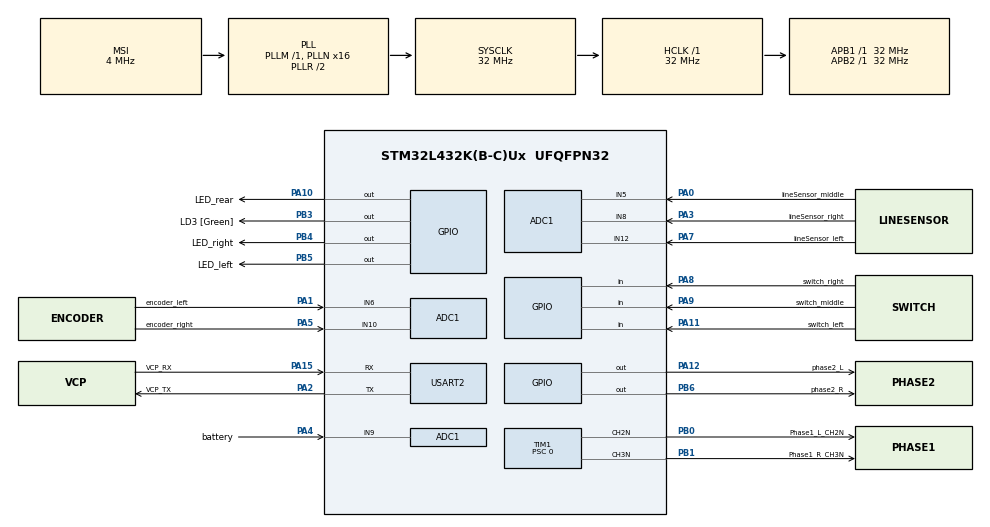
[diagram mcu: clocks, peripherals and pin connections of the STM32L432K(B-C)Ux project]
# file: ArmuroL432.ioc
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ADC1.Channel-0\#ChannelRegularConversion=ADC_CHANNEL_5
ADC1.Channel-1\#ChannelRegularConversion=ADC_CHANNEL_6
ADC1.Channel-2\#ChannelRegularConversion=ADC_CHANNEL_8
ADC1.Channel-3\#ChannelRegularConversion=ADC_CHANNEL_9
ADC1.Channel-4\#ChannelRegularConversion=ADC_CHANNEL_10
ADC1.Channel-5\#ChannelRegularConversion=ADC_CHANNEL_12
ADC1.ClockPrescaler=ADC_CLOCK_ASYNC_DIV4
ADC1.ContinuousConvMode=ENABLE
ADC1.EOCSelection=ADC_EOC_SEQ_CONV
ADC1.NbrOfConversion=6
ADC1.NbrOfConversionFlag=1
ADC1.OffsetNumber-0\#ChannelRegularConversion=ADC_OFFSET_NONE
ADC1.OffsetNumber-1\#ChannelRegularConversion=ADC_OFFSET_NONE
ADC1.OffsetNumber-2\#ChannelRegularConversion=ADC_OFFSET_NONE
ADC1.OffsetNumber-3\#ChannelRegularConversion=ADC_OFFSET_NONE
ADC1.OffsetNumber-4\#ChannelRegularConversion=ADC_OFFSET_NONE
ADC1.OffsetNumber-5\#ChannelRegularConversion=ADC_OFFSET_NONE
ADC1.Rank-0\#ChannelRegularConversion=1
ADC1.Rank-1\#ChannelRegularConversion=2
ADC1.Rank-2\#ChannelRegularConversion=3
ADC1.Rank-3\#ChannelRegularConversion=4
ADC1.Rank-4\#ChannelRegularConversion=5
ADC1.Rank-5\#ChannelRegularConversion=6
ADC1.SamplingTime-0\#ChannelRegularConversion=ADC_SAMPLETIME_2CYCLES_5
ADC1.SamplingTime-1\#ChannelRegularConversion=ADC_SAMPLETIME_2CYCLES_5
ADC1.SamplingTime-2\#ChannelRegularConversion=ADC_SAMPLETIME_2CYCLES_5
ADC1.SamplingTime-3\#ChannelRegularConversion=ADC_SAMPLETIME_2CYCLES_5
ADC1.SamplingTime-4\#ChannelRegularConversion=ADC_SAMPLETIME_2CYCLES_5
ADC1.SamplingTime-5\#ChannelRegularConversion=ADC_SAMPLETIME_2CYCLES_5
ADC1.master=1
Dma.ADC1.0.Direction=DMA_PERIPH_TO_MEMORY
Dma.ADC1.0.Instance=DMA1_Channel1
Dma.ADC1.0.MemDataAlignment=DMA_MDATAALIGN_WORD
Dma.ADC1.0.MemInc=DMA_MINC_ENABLE
Dma.ADC1.0.Mode=DMA_CIRCULAR
Dma.ADC1.0.PeriphDataAlignment=DMA_PDATAALIGN_WORD
Dma.ADC1.0.PeriphInc=DMA_PINC_DISABLE
Dma.ADC1.0.Priority=DMA_PRIORITY_LOW
Dma.Request0=ADC1
Mcu.Family=STM32L4
Mcu.Name=STM32L432K(B-C)Ux
Mcu.Package=UFQFPN32
NVIC.DMA1_Channel1_IRQn=true\:0\:0\:false\:false\:true\:false\:true\:true
NVIC.PriorityGroup=NVIC_PRIORITYGROUP_4
PA0.GPIO_Label=lineSensor_middle
PA0.Signal=ADCx_IN5
PA1.GPIO_Label=encoder_left
PA1.Signal=ADCx_IN6
PA10.GPIO_Label=LED_rear
PA10.Signal=GPIO_Output
PA11.GPIO_Label=switch_left
PA11.Signal=GPIO_Input
PA12.GPIO_Label=phase2_L
PA12.PinState=GPIO_PIN_RESET
PA12.Signal=GPIO_Output
PA13\ (JTMS-SWDIO).GPIO_Label=SWDIO
PA13\ (JTMS-SWDIO).Mode=Serial_Wire
PA13\ (JTMS-SWDIO).Signal=SYS_JTMS-SWDIO
PA14\ (JTCK-SWCLK).GPIO_Label=SWCLK
PA14\ (JTCK-SWCLK).Mode=Serial_Wire
PA14\ (JTCK-SWCLK).Signal=SYS_JTCK-SWCLK
PA15\ (JTDI).GPIO_Label=VCP_RX
PA15\ (JTDI).Mode=Asynchronous
PA15\ (JTDI).Signal=USART2_RX
PA2.GPIO_Label=VCP_TX
PA2.Mode=Asynchronous
PA2.Signal=USART2_TX
PA3.GPIO_Label=lineSensor_right
PA3.Signal=ADCx_IN8
PA4.GPIO_Label=battery
PA4.Signal=ADCx_IN9
PA5.GPIO_Label=encoder_right
PA5.Signal=ADCx_IN10
PA7.GPIO_Label=lineSensor_left
PA7.Signal=ADCx_IN12
PA8.GPIO_Label=switch_right
PA8.Signal=GPIO_Input
PA9.GPIO_Label=switch_middle
PA9.Signal=GPIO_Input
PB0.GPIO_Label=Phase1_L_CH2N
PB0.Mode=PWM Generation2 CH2N
PB0.Signal=TIM1_CH2N
PB1.GPIO_Label=Phase1_R_CH3N
PB1.Mode=PWM Generation3 CH3N
PB1.Signal=TIM1_CH3N
PB3\ (JTDO-TRACESWO).GPIO_Label=LD3 [Green]
PB3\ (JTDO-TRACESWO).Signal=GPIO_Output
PB4\ (NJTRST).GPIO_Label=LED_right
PB4\ (NJTRST).Signal=GPIO_Output
PB5.GPIO_Label=LED_left
PB5.Signal=GPIO_Output
PB6.GPIO_Label=phase2_R
PB6.Signal=GPIO_Output
PC14-OSC32_IN\ (PC14).Mode=LSE-External-Oscillator
PC14-OSC32_IN\ (PC14).Signal=RCC_OSC32_IN
PC15-OSC32_OUT\ (PC15).Mode=LSE-External-Oscillator
PC15-OSC32_OUT\ (PC15).Signal=RCC_OSC32_OUT
ProjectManager.HeapSize=0x200
ProjectManager.StackSize=0x400
ProjectManager.TargetToolchain=Makefile
RCC.ADCFreq_Value=32000000
RCC.AHBFreq_Value=32000000
RCC.APB1Freq_Value=32000000
RCC.APB1TimFreq_Value=32000000
RCC.APB2Freq_Value=32000000
RCC.APB2TimFreq_Value=32000000
RCC.CortexFreq_Value=32000000
RCC.HCLKFreq_Value=32000000
RCC.HSE_VALUE=8000000
RCC.HSI16_VALUE=16000000
RCC.HSI48_VALUE=48000000
RCC.HSI_VALUE=16000000
RCC.MSI_VALUE=4000000
RCC.PLLMUL=RCC_PLLMUL_4
RCC.PLLN=16
RCC.PLLSAI1N=16
RCC.SYSCLKFreq_VALUE=32000000
RCC.SYSCLKSource=RCC_SYSCLKSOURCE_PLLCLK
RCC.USBFreq_Value=32000000
RCC.VCOOutputFreq_Value=64000000
SH.ADCx_IN10.0=ADC1_IN10,IN10-Single-Ended
SH.ADCx_IN12.0=ADC1_IN12,IN12-Single-Ended
SH.ADCx_IN5.0=ADC1_IN5,IN5-Single-Ended
SH.ADCx_IN6.0=ADC1_IN6,IN6-Single-Ended
SH.ADCx_IN8.0=ADC1_IN8,IN8-Single-Ended
SH.ADCx_IN9.0=ADC1_IN9,IN9-Single-Ended
TIM1.AutoReloadPreload=TIM_AUTORELOAD_PRELOAD_ENABLE
TIM1.Channel-PWM\ Generation2\ CH2N=TIM_CHANNEL_2
TIM1.Channel-PWM\ Generation3\ CH3N=TIM_CHANNEL_3
TIM1.ClockDivision=TIM_CLOCKDIVISION_DIV1
TIM1.OCFastMode_PWM-PWM\ Generation2\ CH2N=TIM_OCFAST_DISABLE
TIM1.OCFastMode_PWM-PWM\ Generation3\ CH3N=TIM_OCFAST_DISABLE
TIM1.OCNPolarity_2=TIM_OCNPOLARITY_HIGH
TIM1.Period=65535
TIM1.Prescaler=0
TIM1.Pulse-PWM\ Generation2\ CH2N=0
TIM1.Pulse-PWM\ Generation3\ CH3N=0
USART2.VirtualMode-Asynchronous=VM_ASYNC
VP_TIM1_VS_ClockSourceINT.Mode=Internal
board=NUCLEO-L432KC

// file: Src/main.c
/* USER CODE BEGIN Header */
/**
  ******************************************************************************
  * @file           : main.c
  * @brief          : Main program body
  ******************************************************************************
  * @attention
  *
  * Copyright (c) 2023 STMicroelectronics.
  * All rights reserved.
  *
  * This software is licensed under terms that can be found in the LICENSE file
  * in the root directory of this software component.
  * If no LICENSE file comes with this software, it is provided AS-IS.
  *
  ******************************************************************************
  */
/* USER CODE END Header */
#include "main.h"
#include "adc.h"
#include "dma.h"
#include "tim.h"
#include "usart.h"
#include "gpio.h"

/* USER CODE BEGIN Includes */

#include "stdio.h"
#include "string.h"

#include "armuro.h"

#include "wheels.h"

#include "blinkLED.h"

#include "parcour.h"

#include "lineFollow.h"

/* USER CODE END Includes */

/* USER CODE BEGIN PV */
volatile uint32_t adc[6];
uint32_t buffer[6];
volatile uint8_t conversion_done_flag = 1;

void HAL_ADC_ConvCpltCallback(ADC_HandleTypeDef* hadc1) {
  for (int i = 0; i < 6; i++) {
    adc[i] = buffer[i];
    conversion_done_flag = 1;
  }
}
/* USER CODE END PV */

void SystemClock_Config(void);

int main(void)
{

  /* MCU Configuration--------------------------------------------------------*/

  /* Reset of all peripherals, Initializes the Flash interface and the Systick. */
  HAL_Init();

  /* Configure the system clock */
  SystemClock_Config();

  /* Initialize all configured peripherals */
  MX_GPIO_Init();
  MX_DMA_Init();
  MX_USART2_UART_Init();
  MX_ADC1_Init();
  MX_TIM1_Init();
  /* USER CODE BEGIN 2 */

  initMotors();

  startParcour();

  /* USER CODE END 2 */

  /* Infinite loop */
  /* USER CODE BEGIN WHILE */
  while (1) {
    if (conversion_done_flag) {
      conversion_done_flag = 0;
      HAL_ADC_Start_DMA(&hadc1, buffer, 6);

      didReadSensors(buffer);
    }

    driveParcour();
    blinkLEDTask();

    /* USER CODE END WHILE */
  }
}

void SystemClock_Config(void)
{
  RCC_OscInitTypeDef RCC_OscInitStruct = {0};
  RCC_ClkInitTypeDef RCC_ClkInitStruct = {0};

  /** Configure the main internal regulator output voltage
  */
  if (HAL_PWREx_ControlVoltageScaling(PWR_REGULATOR_VOLTAGE_SCALE1) != HAL_OK)
  {
    Error_Handler();
  }

  /** Configure LSE Drive Capability
  */
  HAL_PWR_EnableBkUpAccess();
  __HAL_RCC_LSEDRIVE_CONFIG(RCC_LSEDRIVE_LOW);

  /** Initializes the RCC Oscillators according to the specified parameters
  * in the RCC_OscInitTypeDef structure.
  */
  RCC_OscInitStruct.OscillatorType = RCC_OSCILLATORTYPE_LSE|RCC_OSCILLATORTYPE_MSI;
  RCC_OscInitStruct.LSEState = RCC_LSE_ON;
  RCC_OscInitStruct.MSIState = RCC_MSI_ON;
  RCC_OscInitStruct.MSICalibrationValue = 0;
  RCC_OscInitStruct.MSIClockRange = RCC_MSIRANGE_6;
  RCC_OscInitStruct.PLL.PLLState = RCC_PLL_ON;
  RCC_OscInitStruct.PLL.PLLSource = RCC_PLLSOURCE_MSI;
  RCC_OscInitStruct.PLL.PLLM = 1;
  RCC_OscInitStruct.PLL.PLLN = 16;
  RCC_OscInitStruct.PLL.PLLP = RCC_PLLP_DIV7;
  RCC_OscInitStruct.PLL.PLLQ = RCC_PLLQ_DIV2;
  RCC_OscInitStruct.PLL.PLLR = RCC_PLLR_DIV2;
  if (HAL_RCC_OscConfig(&RCC_OscInitStruct) != HAL_OK)
  {
    Error_Handler();
  }

  /** Initializes the CPU, AHB and APB buses clocks
  */
  RCC_ClkInitStruct.ClockType = RCC_CLOCKTYPE_HCLK|RCC_CLOCKTYPE_SYSCLK
                              |RCC_CLOCKTYPE_PCLK1|RCC_CLOCKTYPE_PCLK2;
  RCC_ClkInitStruct.SYSCLKSource = RCC_SYSCLKSOURCE_PLLCLK;
  RCC_ClkInitStruct.AHBCLKDivider = RCC_SYSCLK_DIV1;
  RCC_ClkInitStruct.APB1CLKDivider = RCC_HCLK_DIV1;
  RCC_ClkInitStruct.APB2CLKDivider = RCC_HCLK_DIV1;

  if (HAL_RCC_ClockConfig(&RCC_ClkInitStruct, FLASH_LATENCY_1) != HAL_OK)
  {
    Error_Handler();
  }

  /** Enable MSI Auto calibration
  */
  HAL_RCCEx_EnableMSIPLLMode();
}

void Error_Handler(void)
{
  __disable_irq();
  while (1)
  {
  }
}
